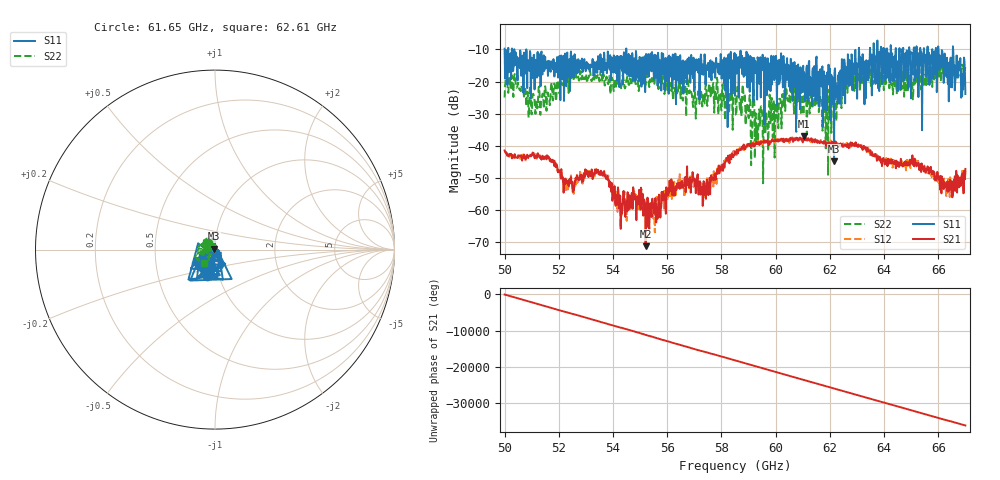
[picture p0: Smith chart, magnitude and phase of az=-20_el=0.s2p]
!Created with skrf (http://scikit-rf.org).
# GHz S RI R 50.0
!freq ReS11 ImS11 ReS21 ImS21 ReS12 ImS12 ReS22 ImS22
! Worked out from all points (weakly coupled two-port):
!   1001 points, 50 GHz to 67 GHz, reference 50 ohm
!   highest |S21| = -37.04 dB at 61.05 GHz (marker M1); lowest = -71.2 dB at 55.2 GHz (marker M2)
!   lowest |S11| = -44.8 dB at 62.16 GHz (marker M3), VSWR 1.01, Z = 49.6 + j0.427 ohm
!   |S11| at or under -10 dB: 50.8 GHz to 54.49 GHz (3.688 GHz wide, 7.01 % of centre); 54.49 GHz to 63.07 GHz (8.582 GHz wide, 14.6 % of centre); 66.01 GHz to 66.54 GHz (532 MHz wide, 0.803 % of centre) (the widest 3 of 29)
!   |S22| runs from -51.7 to -14.0 dB; largest |S21 - S12| = 0.0021
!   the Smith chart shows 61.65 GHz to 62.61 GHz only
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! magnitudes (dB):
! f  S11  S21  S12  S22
! 50 GHz  -9.8  -41.4  -41.4  -25.0
! 50.42 GHz  -13.1  -43.6  -43.4  -21.4
! 51.07 GHz  -11.8  -42.2  -42.9  -24.1
! 51.78 GHz  -16.2  -44.8  -45.1  -25.9
! 52.24 GHz  -12.9  -50.2  -51.2  -20.3
! 52.84 GHz  -13.7  -49.0  -50.2  -19.3
! 53.62 GHz  -17.1  -49.3  -48.1  -19.5
! 54.25 GHz  -15.2  -56.2  -57.3  -21.6
! 55.02 GHz  -13.9  -59.9  -55.6  -17.7
! 55.2 GHz  -13.2  -71.2  -59.5  -21.2
! 55.68 GHz  -13.5  -56.3  -59.3  -22.4
! 56.14 GHz  -18.5  -53.1  -52.9  -21.7
! 57.41 GHz  -20.9  -53.8  -55.1  -21.3
! 58.5 GHz  -24.4  -41.7  -41.8  -24.2
! 59.32 GHz  -25.6  -39.5  -39.0  -33.8
! 61.05 GHz  -17.1  -37.0  -37.8  -23.2
! 61.34 GHz  -27.4  -38.4  -38.4  -26.2
! 62.16 GHz  -44.8  -39.5  -39.1  -28.1
! 63.69 GHz  -20.8  -42.9  -43.1  -16.5
! 64.18 GHz  -18.7  -44.2  -44.3  -18.7
! 66.08 GHz  -15.6  -49.4  -52.0  -15.7
! 67 GHz  -23.9  -47.2  -47.9  -15.6
